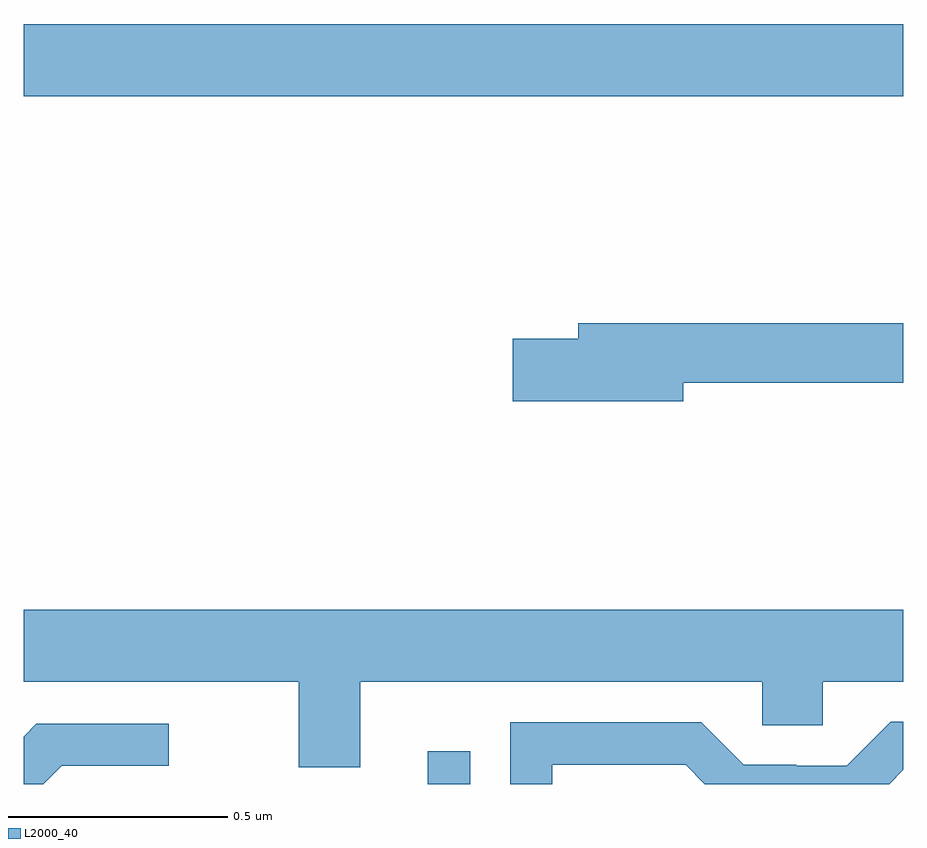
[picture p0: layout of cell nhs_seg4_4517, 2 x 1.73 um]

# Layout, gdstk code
import gdstk
lib = gdstk.Library(unit=1e-6, precision=1e-09)
def R(c, l, rs):  # rectangles x0, y0, x1, y1
    for r in rs: c.add(gdstk.rectangle(r[:2], r[2:], *l))
def P(c, l, *ps):  # polygons
    for p in ps: c.add(gdstk.Polygon(p, *l))
L2000_40 = (2000, 40)

nhs_seg4_4517 = lib.new_cell('nhs_seg4_4517')
R(nhs_seg4_4517, L2000_40, [(166.919,817.9,167.015,817.975), (166,819.464,168,819.628)])
P(nhs_seg4_4517, L2000_40, [(167.5,818.812),(168,818.812),(168,818.948),(167.261,818.948),(167.261,818.912),(167.112,818.912),(167.112,818.77),(167.5,818.77)],
  [(166.765,818.132),(167.679,818.132),(167.679,818.034),(167.817,818.034),(167.817,818.132),(168,818.132),(168,818.296),(166,818.296),(166,818.132),(166.625,818.132),(166.625,817.938),(166.765,817.938)],
  [(167.202,817.944),(167.505,817.944),(167.549,817.9),(167.968,817.9),(168,817.932),(168,818.041),(167.971,818.041),(167.871,817.941),(167.756,817.941),(167.756,817.944),(167.637,817.944),(167.541,818.04),(167.106,818.04),(167.106,817.9),(167.202,817.9)],
  [(166.086,817.941),(166.33,817.941),(166.33,818.037),(166.029,818.037),(166,818.008),(166,817.9),(166.045,817.9)])

lib.write_gds('nhs_seg4_4517.gds')
